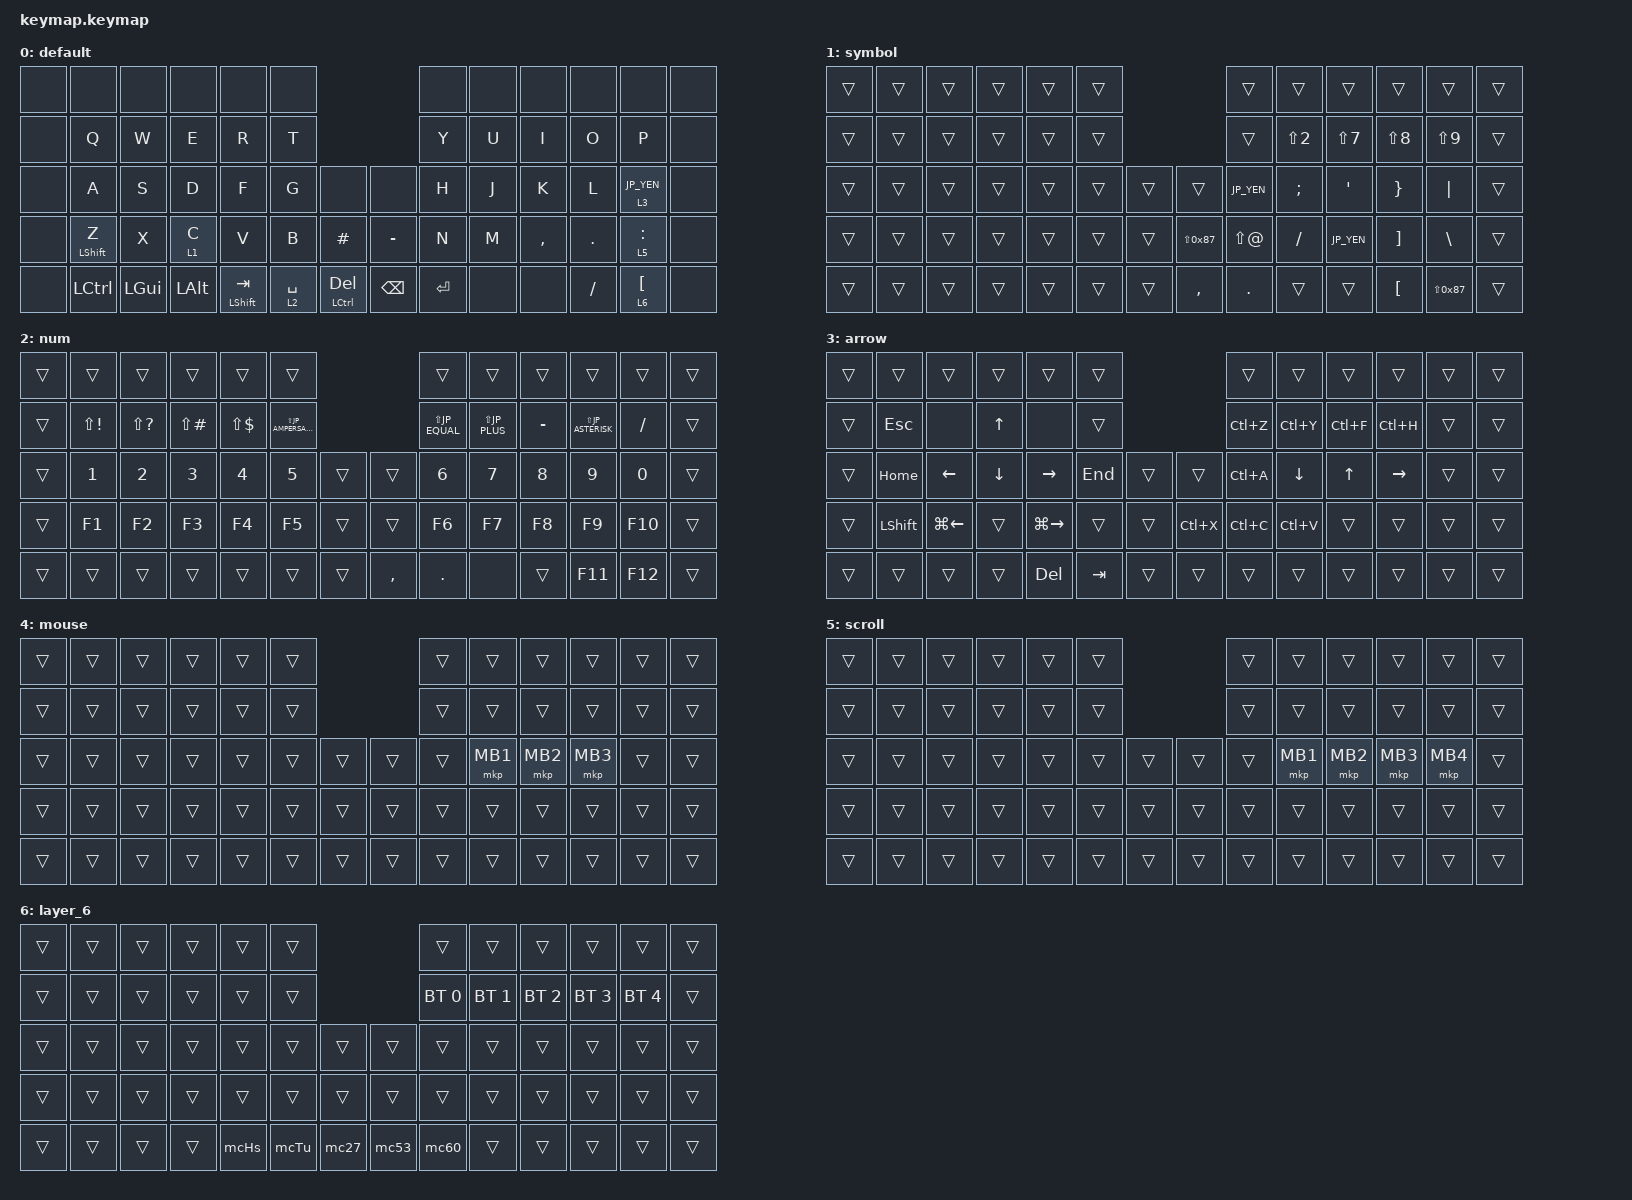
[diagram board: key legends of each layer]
#define ZMK_POINTING_DEFAULT_SCRL_VAL 100

// OS設定を日本語キーボードのままで使用するための変換定義（#defineに続いて、入力したい文字が左側、それに対応するUSキーボード上のキーが右側）

#define JP_DQUOTE       AT                // "
#define JP_AMPERSAND    CARET             // &
#define JP_QUOTE        AMPERSAND         // '
#define JP_EQUAL        UNDER             // =
#define JP_CARET        EQUAL             // ^
#define JP_YEN          0x89              // ¥
#define JP_PLUS         COLON             // +
#define JP_TILDE        PLUS              // ~
#define JP_PIPE         LS(0x89)          // |
#define JP_AT           LEFT_BRACKET      // @
#define JP_COLON        SINGLE_QUOTE      // :
#define JP_ASTERISK     DOUBLE_QUOTES     // *
#define JP_BACKQUOTE    LEFT_BRACE        // `
#define JP_UNDERSCORE   LS(0x87)          // _
#define JP_LBRACKET     RIGHT_BRACKET     // [
#define JP_RBRACKET     BACKSLASH         // ]
#define JP_LPAREN       ASTERISK          // (
#define JP_RPAREN       LEFT_PARENTHESIS  // )
#define JP_LBRACE       RIGHT_BRACE       // {
#define JP_RBRACE       PIPE              // }
#define JP_KANA         LANGUAGE_1        // かな
#define JP_EISU         LANGUAGE_2        // 英数
#define JP_HANZEN       GRAVE             // 半角/全角

//AMLを延長する

#include <input/processors.dtsi>
#include <behaviors.dtsi>
#include <dt-bindings/zmk/bt.h>
#include <dt-bindings/zmk/keys.h>
#include <dt-bindings/zmk/pointing.h>

&mkp_input_listener { input-processors = <&zip_temp_layer 4 250>; };

/ {
    combos {
        compatible = "zmk,combos";

        shift_tab {
            bindings = <&kp LS(TAB)>;
            key-positions = <25 26>;
        };

        tab {
            bindings = <&kp TAB>;
            key-positions = <27 28>;
        };

        esc {
            bindings = <&kp ESC>;
            key-positions = <13 25>;
        };

        hanzenkaku {
            bindings = <&switch_hanzenkaku>;
            key-positions = <28 33>;
        };

        kagikakko1 {
            bindings = <&kp JP_LBRACKET>;
            key-positions = <34 20>;
        };

        kagikakko2 {
            bindings = <&kp JP_RBRACKET>;
            key-positions = <21 35>;
        };

        kakko1 {
            bindings = <&kp JP_LPAREN>;
            key-positions = <32 18>;
        };

        kakko2 {
            bindings = <&kp JP_RPAREN>;
            key-positions = <19 33>;
        };

        double_quotation {
            bindings = <&kp JP_DQUOTE>;
            key-positions = <21 20>;
        };

        quote {
            bindings = <&kp JP_QUOTE>;
            key-positions = <34 35>;
        };

        slash {
            bindings = <&kp SLASH>;
            key-positions = <33 20>;
        };

        back-slash {
            bindings = <&kp JP_YEN>;
            key-positions = <19 34>;
        };

        UnderBar {
            bindings = <&kp JP_UNDERSCORE>;
            key-positions = <48 49>;
        };
    };

    macros {
        switch_hanzenkaku: switch_hanzenkaku {
            compatible = "zmk,behavior-macro";
            #binding-cells = <0>;
            bindings =
                <&macro_press>,
                <&kp LALT>,
                <&macro_tap>,
                <&kp GRAVE>,
                <&macro_release>,
                <&kp LEFT_ALT>;

            label = "SWITCH_HANZENKAKU";
        };

        windows_v: windows_v {
            compatible = "zmk,behavior-macro";
            #binding-cells = <0>;
            bindings =
                <&macro_press>,
                <&kp LEFT_WIN>,
                <&macro_tap>,
                <&kp V>,
                <&macro_release>,
                <&kp LEFT_WIN>;

            label = "WINDOWS_V";
        };

        copy_upper: copy_upper {
            compatible = "zmk,behavior-macro";
            #binding-cells = <0>;
            bindings =
                <&macro_press>,
                <&kp LS(LEFT_ALT)>,
                <&macro_tap>,
                <&kp UP_ARROW>,
                <&macro_release>,
                <&kp LS(LEFT_ALT)>;

            label = "COPY_UPPER";
        };

        copy_lower: copy_lower {
            compatible = "zmk,behavior-macro";
            #binding-cells = <0>;
            bindings =
                <&macro_press>,
                <&kp LS(LEFT_ALT)>,
                <&macro_tap>,
                <&kp DOWN_ARROW>,
                <&macro_release>,
                <&kp LS(LEFT_ALT)>;

            label = "COPY_LOWER";
        };

        kagikakko2_macro: kagikakko2_macro {
            compatible = "zmk,behavior-macro";
            #binding-cells = <0>;
            bindings =
                <&macro_press>,
                <&kp LSHFT>,
                <&macro_tap>,
                <&kp JP_RBRACE>,
                <&macro_release>,
                <&kp LSHFT>;

            label = "KAGIKAKKO2_MACRO";
        };

        mc60: mc60 {
            compatible = "zmk,behavior-macro";
            #binding-cells = <0>;
            bindings =
                <&macro_tap>,
                <&kp NUMBER_6>,
                <&macro_tap>,
                <&kp NUMBER_0>,
                <&macro_tap>,
                <&kp NUMBER_6>,
                <&macro_tap>,
                <&kp NUMBER_7>;

            label = "MC60";
        };

        mc27: mc27 {
            compatible = "zmk,behavior-macro";
            #binding-cells = <0>;
            bindings =
                <&macro_tap>,
                <&kp NUMBER_2>,
                <&macro_tap>,
                <&kp NUMBER_7>,
                <&macro_tap>,
                <&kp NUMBER_3>;

            label = "MC27";
        };

        mcTu: mcTu {
            compatible = "zmk,behavior-macro";
            #binding-cells = <0>;
            bindings =
                <&macro_press>,
                <&kp LSHFT>,
                <&macro_tap>,
                <&kp T>,
                <&macro_release>,
                <&macro_tap>,
                <&kp U>;

            label = "MCTU";
        };

        mc53: mc53 {
            compatible = "zmk,behavior-macro";
            #binding-cells = <0>;
            bindings =
                <&macro_tap>,
                <&kp NUMBER_0>,
                <&macro_tap>,
                <&kp NUMBER_5>,
                <&macro_tap>,
                <&kp NUMBER_3>;

            label = "MC53";
        };

        mckagikakko1: mckagikakko1 {
            compatible = "zmk,behavior-macro";
            #binding-cells = <0>;
            bindings =
                <&macro_press>,
                <&kp LSHFT>,
                <&macro_tap>,
                <&kp JP_LBRACE>,
                <&macro_release>,
                <&kp LSHFT>;

            label = "MCKAGIKAKKO1";
        };

        mcAst: mcAst {
            compatible = "zmk,behavior-macro";
            #binding-cells = <0>;
            bindings =
                <&macro_press>,
                <&kp LSHFT>,
                <&macro_tap>,
                <&kp NUMBER_8>,
                <&macro_release>,
                <&kp LSHFT>;

            label = "MCAST";
        };

        mcHs: mcHs {
            compatible = "zmk,behavior-macro";
            #binding-cells = <0>;
            bindings = <&macro_tap>, <&kp HASH>;

            label = "MCHS";
        };
    };

    keymap {
        compatible = "zmk,keymap";

        layer_0 {
            bindings = <
&none  &none             &none     &none     &none               &none                                         &none      &none  &none      &none      &none         &none
&none  &kp Q             &kp W     &kp E     &kp R               &kp T                                         &kp Y      &kp U  &kp I      &kp O      &kp P         &none
&none  &kp A             &kp S     &kp D     &kp F               &kp G        &none             &none          &kp H      &kp J  &kp K      &kp L      &lt 3 JP_YEN  &none
&none  &mt LEFT_SHIFT Z  &kp X     &lt 1 C   &kp V               &kp B        &kp HASH          &kp MINUS      &kp N      &kp M  &kp COMMA  &kp DOT    &lt 5 COLON   &none
&none  &kp LCTRL         &kp LGUI  &kp LALT  &mt LEFT_SHIFT TAB  &lt 2 SPACE  &mt LCTRL DELETE  &kp BACKSPACE  &kp ENTER  &none  &none      &kp SLASH  &lt 6 JP_AT   &none
            >;

            label = "default";
        };

        layer_1 {
            bindings = <
&trans  &trans  &trans  &trans  &trans  &trans                             &trans           &trans            &trans            &trans            &trans             &trans
&trans  &trans  &trans  &trans  &trans  &trans                             &trans           &kp LS(NUMBER_2)  &kp LS(NUMBER_7)  &kp LS(NUMBER_8)  &kp LS(NUMBER_9)   &trans
&trans  &trans  &trans  &trans  &trans  &trans  &trans  &trans             &kp JP_YEN       &kp SEMICOLON     &kp JP_COLON      &kp JP_LBRACE     &kp JP_RBRACE      &trans
&trans  &trans  &trans  &trans  &trans  &trans  &trans  &kp JP_UNDERSCORE  &kp LS(AT_SIGN)  &kp SLASH         &kp JP_YEN        &kp JP_LBRACKET   &kp JP_RBRACKET    &trans
&trans  &trans  &trans  &trans  &trans  &trans  &trans  &kp COMMA          &kp PERIOD       &trans            &trans            &kp JP_AT         &kp JP_UNDERSCORE  &trans
            >;

            label = "symbol";
        };

        layer_2 {
            bindings = <
&trans  &trans           &trans        &trans    &trans      &trans                               &trans        &trans        &trans        &trans           &trans        &trans
&trans  &kp LS(EXCLAMATION)  &kp LS(QUESTION)  &kp LS(HASH)  &kp LS(DOLLAR)  &kp LS(JP_AMPERSAND)                     &kp LS(JP_EQUAL)  &kp LS(JP_PLUS)   &kp MINUS     &kp LS(JP_ASTERISK)  &kp SLASH     &trans
&trans  &kp N1           &kp N2        &kp N3    &kp N4      &kp N5            &trans  &trans     &kp NUMBER_6  &kp NUMBER_7  &kp NUMBER_8  &kp NUMBER_9     &kp NUMBER_0  &trans
&trans  &kp F1           &kp F2        &kp F3    &kp F4      &kp F5            &trans  &trans     &kp F6        &kp F7        &kp F8        &kp F9           &kp F10       &trans
&trans  &trans           &trans        &trans    &trans      &trans            &trans  &kp COMMA  &kp PERIOD    &none         &trans        &kp F11          &kp F12       &trans
            >;

            label = "num";
        };

        layer_3 {
            bindings = <
&trans  &trans          &trans        &trans    &trans         &trans                      &trans     &trans     &trans        &trans     &trans  &trans
&trans  &kp ESCAPE      &none         &kp UP    &none          &trans                      &kp LC(Z)  &kp LC(Y)  &kp LC(F)     &kp LC(H)  &trans  &trans
&trans  &kp HOME        &kp LEFT      &kp DOWN  &kp RIGHT      &kp END  &trans  &trans     &kp LC(A)  &kp DOWN   &kp UP_ARROW  &kp RIGHT  &trans  &trans
&trans  &kp LEFT_SHIFT  &kp LG(LEFT)  &trans    &kp LG(RIGHT)  &trans   &trans  &kp LC(X)  &kp LC(C)  &kp LC(V)  &trans        &trans     &trans  &trans
&trans  &trans          &trans        &trans    &kp DELETE     &kp TAB  &trans  &trans     &trans     &trans     &trans        &trans     &trans  &trans
            >;

            label = "arrow";
        };

        layer_4 {
            bindings = <
&trans  &trans  &trans  &trans  &trans  &trans                  &trans  &trans    &trans    &trans    &trans  &trans
&trans  &trans  &trans  &trans  &trans  &trans                  &trans  &trans    &trans    &trans    &trans  &trans
&trans  &trans  &trans  &trans  &trans  &trans  &trans  &trans  &trans  &mkp MB1  &mkp MB2  &mkp MB3  &trans  &trans
&trans  &trans  &trans  &trans  &trans  &trans  &trans  &trans  &trans  &trans    &trans    &trans    &trans  &trans
&trans  &trans  &trans  &trans  &trans  &trans  &trans  &trans  &trans  &trans    &trans    &trans    &trans  &trans
            >;

            label = "mouse";
        };

        layer_5 {
            bindings = <
&trans  &trans  &trans  &trans  &trans  &trans                  &trans  &trans    &trans    &trans    &trans    &trans
&trans  &trans  &trans  &trans  &trans  &trans                  &trans  &trans    &trans    &trans    &trans    &trans
&trans  &trans  &trans  &trans  &trans  &trans  &trans  &trans  &trans  &mkp MB1  &mkp MB2  &mkp MB3  &mkp MB4  &trans
&trans  &trans  &trans  &trans  &trans  &trans  &trans  &trans  &trans  &trans    &trans    &trans    &trans    &trans
&trans  &trans  &trans  &trans  &trans  &trans  &trans  &trans  &trans  &trans    &trans    &trans    &trans    &trans
            >;

            label = "scroll";
        };

        layer_6 {
            bindings = <
&trans  &trans  &trans  &trans  &trans  &trans                  &trans        &trans        &trans        &trans        &trans        &trans
&trans  &trans  &trans  &trans  &trans  &trans                  &bt BT_SEL 0  &bt BT_SEL 1  &bt BT_SEL 2  &bt BT_SEL 3  &bt BT_SEL 4  &trans
&trans  &trans  &trans  &trans  &trans  &trans  &trans  &trans  &trans        &trans        &trans        &trans        &trans        &trans
&trans  &trans  &trans  &trans  &trans  &trans  &trans  &trans  &trans        &trans        &trans        &trans        &trans        &trans
&trans  &trans  &trans  &trans  &mcHs   &mcTu   &mc27   &mc53   &mc60         &trans        &trans        &trans        &trans        &trans
            >;
        };
    };
};
